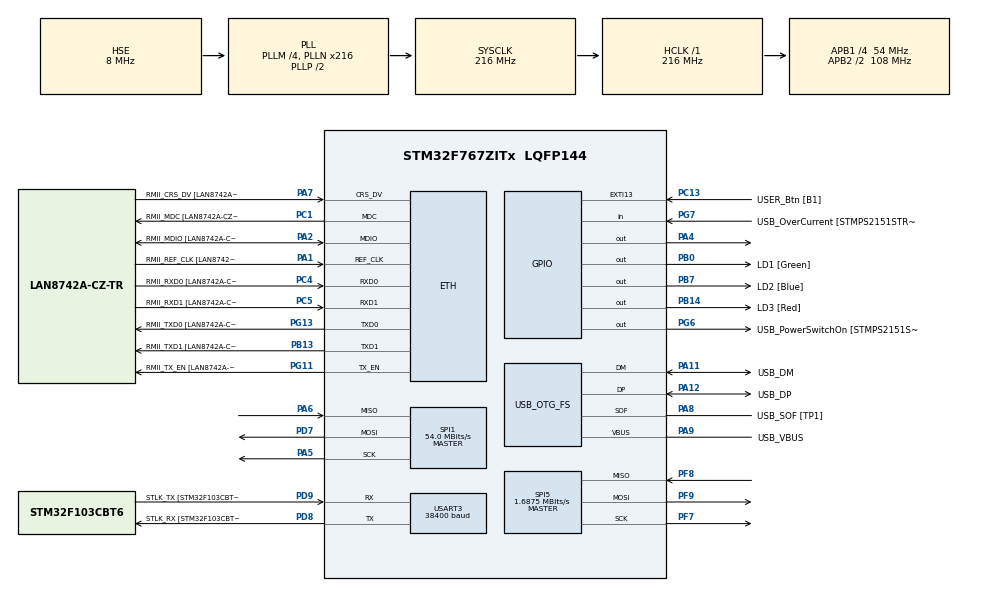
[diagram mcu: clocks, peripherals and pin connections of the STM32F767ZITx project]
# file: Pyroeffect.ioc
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ETH.MediaInterface=HAL_ETH_RMII_MODE
ETH.PHY_Name=LAN8742A_PHY_ADDRESS
ETH.PHY_Value=0
ETH.PhyAddress=0
Mcu.Family=STM32F7
Mcu.Name=STM32F767ZITx
Mcu.Package=LQFP144
NVIC.PriorityGroup=NVIC_PRIORITYGROUP_4
PA1.GPIO_Label=RMII_REF_CLK [LAN8742A-CZ-TR_REFCLK0]
PA1.Mode=RMII
PA1.Signal=ETH_REF_CLK
PA10.GPIO_Label=USB_ID
PA10.Signal=USB_OTG_FS_ID
PA11.GPIO_Label=USB_DM
PA11.Mode=Device_Only
PA11.Signal=USB_OTG_FS_DM
PA12.GPIO_Label=USB_DP
PA12.Mode=Device_Only
PA12.Signal=USB_OTG_FS_DP
PA13.GPIO_Label=TMS
PA13.Mode=Serial_Wire
PA13.Signal=SYS_JTMS-SWDIO
PA14.GPIO_Label=TCK
PA14.Mode=Serial_Wire
PA14.Signal=SYS_JTCK-SWCLK
PA2.GPIO_Label=RMII_MDIO [LAN8742A-CZ-TR_MDIO]
PA2.Mode=RMII
PA2.Signal=ETH_MDIO
PA4.Signal=GPIO_Output
PA5.Mode=Full_Duplex_Master
PA5.Signal=SPI1_SCK
PA6.Mode=Full_Duplex_Master
PA6.Signal=SPI1_MISO
PA7.GPIO_Label=RMII_CRS_DV [LAN8742A-CZ-TR_CRS_DV]
PA7.Mode=RMII
PA7.Signal=ETH_CRS_DV
PA8.GPIO_Label=USB_SOF [TP1]
PA8.Mode=Activate_SOF_FS
PA8.Signal=USB_OTG_FS_SOF
PA9.GPIO_Label=USB_VBUS
PA9.Mode=Activate_VBUS
PA9.Signal=USB_OTG_FS_VBUS
PB0.GPIO_Label=LD1 [Green]
PB0.Signal=GPIO_Output
PB13.GPIO_Label=RMII_TXD1 [LAN8742A-CZ-TR_TXD1]
PB13.Mode=RMII
PB13.Signal=ETH_TXD1
PB14.GPIO_Label=LD3 [Red]
PB14.Signal=GPIO_Output
PB3.GPIO_Label=SWO
PB3.Signal=SYS_JTDO-SWO
PB7.GPIO_Label=LD2 [Blue]
PB7.Signal=GPIO_Output
PC1.GPIO_Label=RMII_MDC [LAN8742A-CZ-TR_MDC]
PC1.Mode=RMII
PC1.Signal=ETH_MDC
PC13.GPIO_Label=USER_Btn [B1]
PC13.Signal=GPXTI13
PC14/OSC32_IN.Mode=LSE-External-Oscillator
PC14/OSC32_IN.Signal=RCC_OSC32_IN
PC15/OSC32_OUT.Mode=LSE-External-Oscillator
PC15/OSC32_OUT.Signal=RCC_OSC32_OUT
PC4.GPIO_Label=RMII_RXD0 [LAN8742A-CZ-TR_RXD0]
PC4.Mode=RMII
PC4.Signal=ETH_RXD0
PC5.GPIO_Label=RMII_RXD1 [LAN8742A-CZ-TR_RXD1]
PC5.Mode=RMII
PC5.Signal=ETH_RXD1
PD7.Mode=Full_Duplex_Master
PD7.Signal=SPI1_MOSI
PD8.GPIO_Label=STLK_RX [STM32F103CBT6_PA3]
PD8.Mode=Asynchronous
PD8.Signal=USART3_TX
PD9.GPIO_Label=STLK_TX [STM32F103CBT6_PA2]
PD9.Mode=Asynchronous
PD9.Signal=USART3_RX
PF7.Mode=Full_Duplex_Master
PF7.Signal=SPI5_SCK
PF8.Mode=Full_Duplex_Master
PF8.Signal=SPI5_MISO
PF9.Mode=Full_Duplex_Master
PF9.Signal=SPI5_MOSI
PG11.GPIO_Label=RMII_TX_EN [LAN8742A-CZ-TR_TXEN]
PG11.Mode=RMII
PG11.Signal=ETH_TX_EN
PG13.GPIO_Label=RMII_TXD0 [LAN8742A-CZ-TR_TXD0]
PG13.Mode=RMII
PG13.Signal=ETH_TXD0
PG6.GPIO_Label=USB_PowerSwitchOn [STMPS2151STR_EN]
PG6.Signal=GPIO_Output
PG7.GPIO_Label=USB_OverCurrent [STMPS2151STR_FAULT]
PG7.Signal=GPIO_Input
PH0/OSC_IN.GPIO_Label=MCO [STM32F103CBT6_PA8]
PH0/OSC_IN.Mode=HSE-External-Clock-Source
PH0/OSC_IN.Signal=RCC_OSC_IN
PH1/OSC_OUT.Mode=HSE-External-Clock-Source
PH1/OSC_OUT.Signal=RCC_OSC_OUT
ProjectManager.HeapSize=0x200
ProjectManager.StackSize=0x400
ProjectManager.TargetToolchain=STM32CubeIDE
RCC.48MHZClocksFreq_Value=24000000
RCC.AHBFreq_Value=216000000
RCC.APB1CLKDivider=RCC_HCLK_DIV4
RCC.APB1Freq_Value=54000000
RCC.APB1TimFreq_Value=108000000
RCC.APB2CLKDivider=RCC_HCLK_DIV2
RCC.APB2Freq_Value=108000000
RCC.APB2TimFreq_Value=216000000
RCC.CortexFreq_Value=216000000
RCC.HCLKFreq_Value=216000000
RCC.HSE_VALUE=8000000
RCC.HSI_VALUE=16000000
RCC.PLLM=4
RCC.PLLMUL=RCC_PLL_MUL9
RCC.PLLN=216
RCC.PLLQ=9
RCC.PRESCALERUSB=RCC_USBCLKSOURCE_PLL_DIV1_5
RCC.SYSCLKFreq_VALUE=216000000
RCC.SYSCLKSource=RCC_SYSCLKSOURCE_PLLCLK
RCC.SYSCLKSourceVirtual=RCC_SYSCLKSOURCE_PLLCLK
RCC.USBFreq_Value=48000000
RCC.VCOOutputFreq_Value=432000000
SPI1.CalculateBaudRate=54.0 MBits/s
SPI1.DataSize=SPI_DATASIZE_16BIT
SPI1.Direction=SPI_DIRECTION_2LINES
SPI1.Mode=SPI_MODE_MASTER
SPI1.VirtualType=VM_MASTER
SPI5.BaudRatePrescaler=SPI_BAUDRATEPRESCALER_64
SPI5.CalculateBaudRate=1.6875 MBits/s
SPI5.DataSize=SPI_DATASIZE_8BIT
SPI5.Direction=SPI_DIRECTION_2LINES
SPI5.Mode=SPI_MODE_MASTER
SPI5.VirtualType=VM_MASTER
USART3.BaudRate=38400
USART3.VirtualMode-Asynchronous=VM_ASYNC
USB_OTG_FS.VirtualMode=Device_Only
board=NUCLEO-F767ZI

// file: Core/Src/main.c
/* USER CODE BEGIN Header */
/**
  ******************************************************************************
  * @file           : main.c
  * @brief          : Main program body
  ******************************************************************************
  * @attention
  *
  * Copyright (c) 2024 STMicroelectronics.
  * All rights reserved.
  *
  * This software is licensed under terms that can be found in the LICENSE file
  * in the root directory of this software component.
  * If no LICENSE file comes with this software, it is provided AS-IS.
  *
  ******************************************************************************
  */
/* USER CODE END Header */
#include "main.h"
#include "eth.h"
#include "spi.h"
#include "usart.h"
#include "usb_otg.h"
#include "gpio.h"

/* USER CODE BEGIN Includes */
#include "max6675.h"
#include <stdio.h>
/* USER CODE END Includes */

void SystemClock_Config(void);

/* USER CODE BEGIN 0 */
uint8_t answer = 0;
uint16_t reg = 0;
float temper = 0;
uint8_t string[40] = {0};
uint32_t errorCode = 0;
uint16_t t = 0;
/* USER CODE END 0 */

int main(void)
{

  /* MCU Configuration--------------------------------------------------------*/

  /* Reset of all peripherals, Initializes the Flash interface and the Systick. */
  HAL_Init();

  /* Configure the system clock */
  SystemClock_Config();

  /* Initialize all configured peripherals */
  MX_GPIO_Init();
  MX_ETH_Init();
  MX_USART3_UART_Init();
  MX_USB_OTG_FS_PCD_Init();
  MX_SPI1_Init();
  MX_SPI5_Init();
  /* USER CODE BEGIN 2 */

  //PA4 - GPIO Output
  //PA5 - SPI1_SCK
  //PA6 - SPI1_MISO

  /* USER CODE END 2 */

  /* Infinite loop */
  /* USER CODE BEGIN WHILE */
  while (1)
  {
	  answer = max6675ReadReg(&reg, &errorCode);
	  if (answer == MAX6675_OK)
	  {
		  //Преобразовать в температуру
		  temper = max6675Temp(reg);
		  sprintf((char *)string, "T = %0.2f \n\r", temper);
	  }
	  else
	  {
		  sprintf((char *)string, "T = error\n\r");
		 // printf("SPI Receive Error: %lu\n", errorCode);
	  }

	  //Вывод в порт
	  HAL_UART_Transmit(&huart3, string, 20, 1000);

	  HAL_Delay(1000);
    /* USER CODE END WHILE */

  }
}

void SystemClock_Config(void)
{
  RCC_OscInitTypeDef RCC_OscInitStruct = {0};
  RCC_ClkInitTypeDef RCC_ClkInitStruct = {0};

  /** Configure LSE Drive Capability
  */
  HAL_PWR_EnableBkUpAccess();

  /** Configure the main internal regulator output voltage
  */
  __HAL_RCC_PWR_CLK_ENABLE();
  __HAL_PWR_VOLTAGESCALING_CONFIG(PWR_REGULATOR_VOLTAGE_SCALE1);

  /** Initializes the RCC Oscillators according to the specified parameters
  * in the RCC_OscInitTypeDef structure.
  */
  RCC_OscInitStruct.OscillatorType = RCC_OSCILLATORTYPE_HSE;
  RCC_OscInitStruct.HSEState = RCC_HSE_BYPASS;
  RCC_OscInitStruct.PLL.PLLState = RCC_PLL_ON;
  RCC_OscInitStruct.PLL.PLLSource = RCC_PLLSOURCE_HSE;
  RCC_OscInitStruct.PLL.PLLM = 4;
  RCC_OscInitStruct.PLL.PLLN = 216;
  RCC_OscInitStruct.PLL.PLLP = RCC_PLLP_DIV2;
  RCC_OscInitStruct.PLL.PLLQ = 9;
  RCC_OscInitStruct.PLL.PLLR = 2;
  if (HAL_RCC_OscConfig(&RCC_OscInitStruct) != HAL_OK)
  {
    Error_Handler();
  }

  /** Activate the Over-Drive mode
  */
  if (HAL_PWREx_EnableOverDrive() != HAL_OK)
  {
    Error_Handler();
  }

  /** Initializes the CPU, AHB and APB buses clocks
  */
  RCC_ClkInitStruct.ClockType = RCC_CLOCKTYPE_HCLK|RCC_CLOCKTYPE_SYSCLK
                              |RCC_CLOCKTYPE_PCLK1|RCC_CLOCKTYPE_PCLK2;
  RCC_ClkInitStruct.SYSCLKSource = RCC_SYSCLKSOURCE_PLLCLK;
  RCC_ClkInitStruct.AHBCLKDivider = RCC_SYSCLK_DIV1;
  RCC_ClkInitStruct.APB1CLKDivider = RCC_HCLK_DIV4;
  RCC_ClkInitStruct.APB2CLKDivider = RCC_HCLK_DIV2;

  if (HAL_RCC_ClockConfig(&RCC_ClkInitStruct, FLASH_LATENCY_7) != HAL_OK)
  {
    Error_Handler();
  }
}

void Error_Handler(void)
{
  __disable_irq();
  while (1)
  {
  }
}
